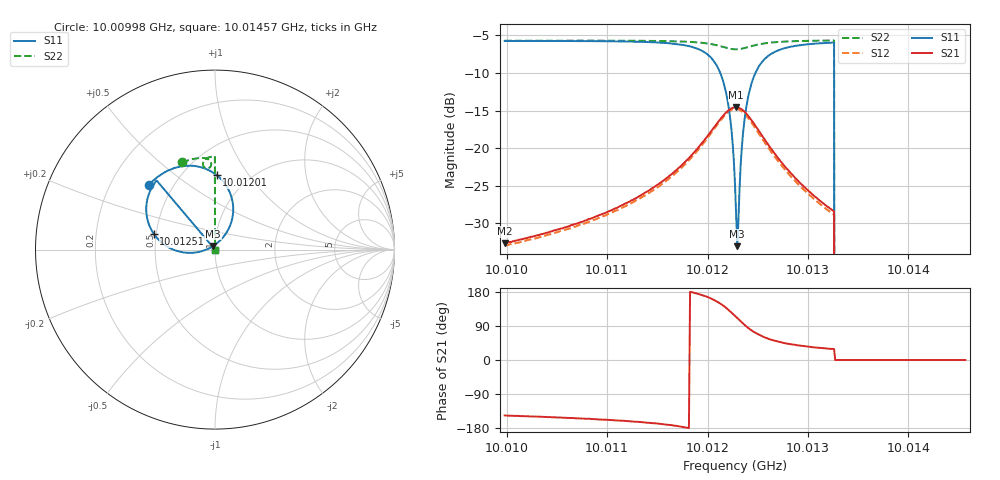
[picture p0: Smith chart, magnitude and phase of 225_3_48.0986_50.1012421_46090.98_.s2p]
#  HZ  S  RI  R  50.00
! Rohde & Schwarz Vector Network Analyzer
! Rohde-Schwarz,ZNB20-2Port,1311601062101988,3.16
! Created: UTC 12/23/2023, 3:57:12 AM
! freq[Hz]  re:S11  im:S11  re:S21  im:S21  re:S12  im:S12  re:S22  im:S22
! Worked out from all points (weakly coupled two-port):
!   401 points, 10.00998 GHz to 10.01457 GHz, reference 50 ohm
!   highest |S21| = -14.55 dB at 10.01229 GHz (marker M1); lowest = -32.6 dB at 10.00998 GHz (marker M2)
!   lowest |S11| = -33.0 dB at 10.0123 GHz (marker M3), VSWR 1.05, Z = 48.9 + j1.91 ohm
!   |S11| at or under -10 dB: 10.01213 GHz to 10.01248 GHz (349.4 kHz wide, 0.00349 % of centre); 10.01326 GHz to end of sweep
!   |S22| runs from - to -5.7 dB; largest |S21 - S12| = 0.0088
!   S11 on the Smith chart (normalised r, x): 10.00998 GHz: 0.37, +0.36; 10.01201 GHz: 0.72, +0.72; 10.01251 GHz: 0.48, +0.10; 10.01457 GHz: 1.00, +0.00
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1.0009979e10  -0.3674 0.3625  -0.0195 -0.013  -0.018 -0.0134  -0.1833 0.4853
1.0010748e10  -0.3116 0.4106  -0.0293 -0.0138  -0.0275 -0.0148  -0.1337 0.5016
1.0011516e10  -0.205 0.4607  -0.0567 -0.012  -0.054 -0.0142  -0.077 0.5108
1.0011838e10  -0.0967 0.4632  -0.0894 0.00123  -0.0864 -0.00342  -0.0468 0.5067
1.001201e10  0.00862 0.4151  -0.1189 0.0312  -0.1169 0.0243  -0.0286 0.4952
1.0012124e10  0.0867 0.3077  -0.1336 0.0793  -0.1341 0.0707  -0.0209 0.4776
1.0012193e10  0.0998 0.1947  -0.1255 0.1219  -0.1281 0.1136  -0.0242 0.4637
1.0012239e10  0.0725 0.109  -0.1056 0.1509  -0.1091 0.1434  -0.0316 0.4559
1.0012274e10  0.0281 0.0503  -0.0828 0.1679  -0.0873 0.1605  -0.0393 0.4527
1.0012285e10  0.00964 0.0342  -0.0741 0.172  -0.079 0.1649  -0.042 0.4524
1.0012296e10  -0.0108 0.0196  -0.0652 0.1752  -0.0697 0.1685  -0.045 0.4525
1.0012319e10  -0.0549 -0.00251  -0.0472 0.1786  -0.051 0.1725  -0.0505 0.4534
1.0012354e10  -0.1253 -0.0178  -0.0195 0.1775  -0.0234 0.1716  -0.0579 0.4572
1.0012388e10  -0.1913 -0.0129  0.00534 0.1694  -0.00045 0.1638  -0.0631 0.4631
1.0012446e10  -0.2785 0.0248  0.0347 0.1475  0.0284 0.1428  -0.067 0.4742
1.0012514e10  -0.3417 0.0885  0.0516 0.1188  0.0458 0.1154  -0.0653 0.4866
1.0012698e10  -0.3832 0.2281  0.057 0.0655  0.052 0.0644  -0.0497 0.5062
1.0013042e10  -0.3505 0.3483  0.0411 0.0275  0.0378 0.0281  -0.0183 0.5182
1.0013237e10  -0.3281 0.3821  0.034 0.0191  0.0314 0.0197  -0.00261 0.5204
1.0013295e10  0 0  0 0  0 0  0 0
1.0013811e10  0 0  0 0  0 0  0 0
1.0014568e10  0 0  0 0  0 0  0 0
